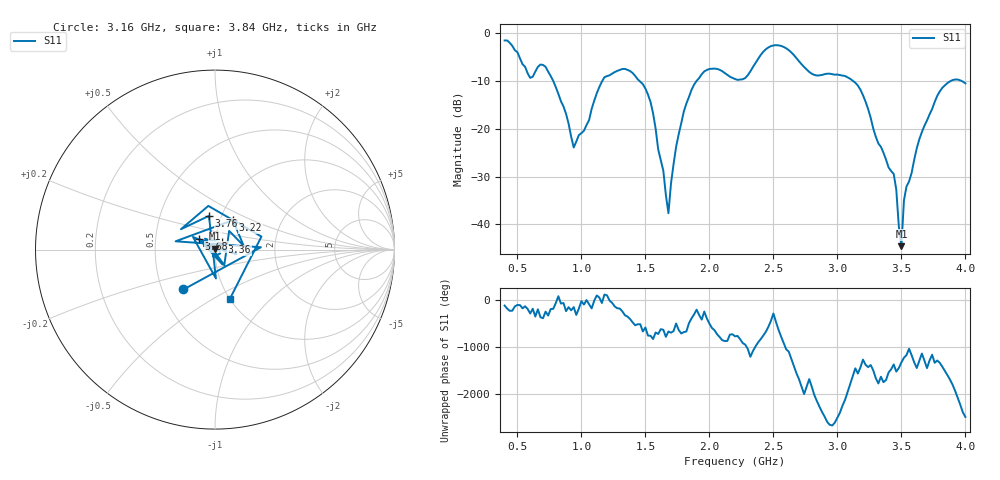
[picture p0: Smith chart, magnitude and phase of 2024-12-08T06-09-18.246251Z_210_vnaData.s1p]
!Created with skrf (http://scikit-rf.org).
# Hz S RI R 50.0
!freq ReS11 ImS11
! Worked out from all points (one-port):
!   181 points, 400 MHz to 4 GHz, reference 50 ohm
!   lowest |S11| = -44.5 dB at 3.5 GHz (marker M1), VSWR 1.01, Z = 49.8 + j0.559 ohm
!   |S11| at or under -10 dB: 780.2 MHz to 1.163 GHz (382.7 MHz wide, 39.4 % of centre); 1.455 GHz to 1.899 GHz (444.9 MHz wide, 26.5 % of centre); 3.123 GHz to 3.885 GHz (762 MHz wide, 21.7 % of centre) (the widest 3 of 4)
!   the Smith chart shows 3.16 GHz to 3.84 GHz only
!   S11 on the Smith chart (normalised r, x): 3.16 GHz: 0.64, -0.31; 3.22 GHz: 1.15, +0.39; 3.36 GHz: 1.08, +0.09; 3.68 GHz: 0.83, +0.10; 3.76 GHz: 0.87, +0.34; 3.84 GHz: 1.01, -0.60
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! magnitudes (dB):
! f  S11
! 400 MHz  -1.5
! 600 MHz  -9.3
! 720 MHz  -7.0
! 860 MHz  -15.3
! 940 MHz  -23.9
! 1.18 GHz  -9.2
! 1.3 GHz  -7.7
! 1.54 GHz  -14.4
! 1.68 GHz  -37.6
! 1.76 GHz  -21.1
! 1.86 GHz  -11.9
! 1.96 GHz  -8.0
! 2.2 GHz  -9.6
! 2.48 GHz  -2.7
! 2.66 GHz  -4.6
! 2.82 GHz  -8.7
! 3.1 GHz  -9.5
! 3.16 GHz  -11.0
! 3.22 GHz  -14.3
! 3.36 GHz  -25.0
! 3.44 GHz  -29.4
! 3.5 GHz  -44.5
! 3.52 GHz  -34.9
! 3.56 GHz  -31.0
! 3.68 GHz  -19.4
! 3.76 GHz  -14.4
! 3.84 GHz  -10.9
! 4 GHz  -10.5
